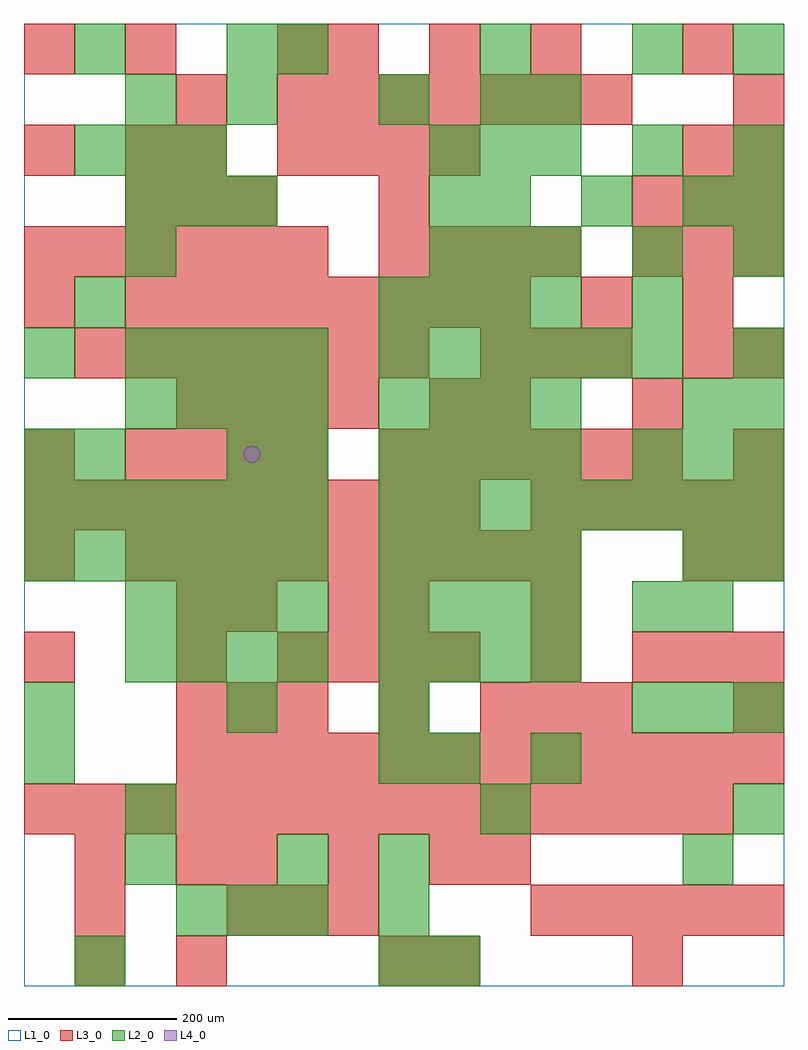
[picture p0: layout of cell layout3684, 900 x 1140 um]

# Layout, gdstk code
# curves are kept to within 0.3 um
import gdstk
lib = gdstk.Library(unit=1e-6, precision=1e-09)
def R(c, l, rs):  # rectangles x0, y0, x1, y1
    for r in rs: c.add(gdstk.rectangle(r[:2], r[2:], *l))
def A(c, l, x, y, w, h, nx, ny, dx, dy):  # array of equal rectangles
    R(c, l, [(x+i*dx, y+j*dy, x+i*dx+w, y+j*dy+h) for i in range(nx) for j in range(ny)])
def P(c, l, *ps):  # polygons
    for p in ps: c.add(gdstk.Polygon(p, *l))
L1_0 = (1, 0)
L2_0 = (2, 0)
L3_0 = (3, 0)
L4_0 = (4, 0)

layout3684 = lib.new_cell('layout3684')
R(layout3684, L1_0, [(0,0,900,1140)])
A(layout3684, L2_0, 420, 0, 60, 60, 1, 3, 0, 60)
A(layout3684, L2_0, 180, 60, 60, 60, 3, 1, 60, 0)
A(layout3684, L2_0, 300, 120, 60, 60, 1, 3, 0, 480)
A(layout3684, L2_0, 720, 300, 60, 60, 3, 2, 60, 300)
A(layout3684, L2_0, 120, 360, 60, 60, 4, 2, 60, 60)
A(layout3684, L2_0, 420, 360, 60, 60, 4, 3, 60, 60)
A(layout3684, L2_0, 0, 480, 60, 60, 6, 2, 60, 60)
A(layout3684, L2_0, 420, 540, 60, 60, 8, 1, 60, 0)
A(layout3684, L2_0, 420, 600, 60, 60, 4, 2, 60, 60)
A(layout3684, L2_0, 120, 660, 60, 60, 4, 2, 60, 60)
A(layout3684, L2_0, 420, 720, 60, 60, 6, 1, 60, 0)
A(layout3684, L2_0, 420, 780, 60, 60, 4, 1, 60, 0)
A(layout3684, L2_0, 480, 840, 60, 60, 3, 2, 60, 120)
A(layout3684, L2_0, 720, 840, 60, 60, 1, 3, 0, 120)
A(layout3684, L2_0, 840, 840, 60, 60, 1, 3, 0, 60)
A(layout3684, L2_0, 120, 900, 60, 60, 3, 1, 60, 0)
A(layout3684, L2_0, 540, 900, 60, 60, 3, 1, 120, 0)
A(layout3684, L2_0, 60, 960, 60, 60, 3, 1, 60, 0)
R(layout3684, L2_0, [(60,0,120,60), (480,0,540,60), (120,120,180,180), (780,120,840,180), (120,180,180,240), (540,180,600,240), (840,180,900,240), (0,240,60,300), (420,240,480,300), (480,240,540,300), (600,240,660,300), (0,300,60,360), (240,300,300,360), (420,300,480,360), (720,420,780,480), (780,420,840,480), (780,480,840,540), (840,480,900,540), (0,600,60,660), (60,600,120,660), (240,600,300,660), (780,660,840,720), (840,660,900,720), (0,720,60,780), (840,720,900,780), (60,780,120,840), (720,780,780,840), (120,840,180,900), (480,900,540,960), (120,1020,180,1080), (240,1020,300,1080), (420,1020,480,1080), (540,1020,600,1080), (600,1020,660,1080), (60,1080,120,1140), (240,1080,300,1140), (540,1080,600,1140), (840,1080,900,1140)])
A(layout3684, L3_0, 60, 0, 60, 60, 1, 3, 0, 60)
A(layout3684, L3_0, 240, 60, 60, 60, 3, 1, 60, 0)
A(layout3684, L3_0, 600, 60, 60, 60, 5, 2, 60, 480)
A(layout3684, L3_0, 240, 120, 60, 60, 3, 1, 120, 0)
A(layout3684, L3_0, 0, 180, 60, 60, 14, 1, 60, 0)
A(layout3684, L3_0, 180, 240, 60, 60, 12, 1, 60, 0)
A(layout3684, L3_0, 180, 300, 60, 60, 3, 1, 60, 0)
A(layout3684, L3_0, 540, 300, 60, 60, 3, 2, 60, 420)
A(layout3684, L3_0, 0, 360, 60, 60, 1, 3, 0, 120)
A(layout3684, L3_0, 300, 360, 60, 60, 4, 2, 60, 600)
A(layout3684, L3_0, 720, 360, 60, 60, 3, 2, 60, 480)
A(layout3684, L3_0, 120, 480, 60, 60, 9, 1, 60, 0)
A(layout3684, L3_0, 840, 480, 60, 60, 1, 3, 0, 120)
A(layout3684, L3_0, 0, 540, 60, 60, 9, 1, 60, 0)
A(layout3684, L3_0, 120, 600, 60, 60, 4, 1, 60, 0)
A(layout3684, L3_0, 420, 600, 60, 60, 6, 1, 60, 0)
A(layout3684, L3_0, 180, 660, 60, 60, 4, 1, 60, 0)
A(layout3684, L3_0, 60, 720, 60, 60, 7, 1, 60, 0)
A(layout3684, L3_0, 120, 780, 60, 60, 8, 1, 60, 0)
A(layout3684, L3_0, 0, 840, 60, 60, 6, 1, 60, 0)
A(layout3684, L3_0, 420, 840, 60, 60, 4, 1, 60, 0)
A(layout3684, L3_0, 120, 900, 60, 60, 3, 1, 60, 0)
A(layout3684, L3_0, 720, 900, 60, 60, 3, 1, 60, 0)
A(layout3684, L3_0, 300, 1020, 60, 60, 7, 1, 60, 0)
A(layout3684, L3_0, 360, 1080, 60, 60, 3, 1, 120, 0)
R(layout3684, L3_0, [(180,0,240,60), (420,0,480,60), (480,0,540,60), (720,0,780,60), (180,120,240,180), (540,120,600,180), (420,300,480,360), (840,300,900,360), (180,360,240,420), (600,360,660,420), (180,420,240,480), (240,420,300,480), (360,420,420,480), (420,420,480,480), (600,420,660,480), (780,480,840,540), (480,660,540,720), (540,660,600,720), (720,660,780,720), (780,720,840,780), (0,780,60,840), (660,780,720,840), (780,780,840,840), (420,900,480,960), (0,960,60,1020), (120,960,180,1020), (180,960,240,1020), (780,960,840,1020), (840,960,900,1020), (180,1020,240,1080), (840,1020,900,1080), (0,1080,60,1140), (120,1080,180,1140), (300,1080,360,1140), (780,1080,840,1140)])
P(layout3684, L4_0, [(280,630),(279.239,633.827),(277.071,637.071),(273.827,639.239),(270,640),(266.173,639.239),(262.929,637.071),(260.761,633.827),(260,630),(260.761,626.173),(262.929,622.929),(266.173,620.761),(270,620),(273.827,620.761),(277.071,622.929),(279.239,626.173)])

lib.write_gds('layout3684.gds')
